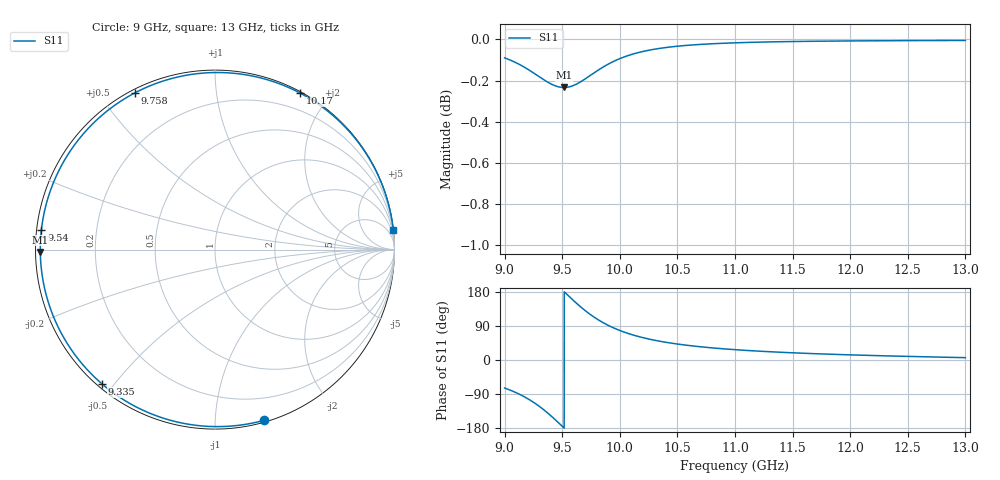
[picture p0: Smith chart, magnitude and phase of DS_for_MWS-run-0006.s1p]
! TOUCHSTONE file generated by CST DESIGN STUDIO
! Date and time: Tue Feb  4 17:21:26 2025
! Project name: C:\Work\MatlabApps\UnitCellOptimizationMatlab\CST\unitcell.cst
! Tree item: Tasks\Sweep1\SPara1\S-Parameters
! Header version: 2024
! Port assignment regex: !\s*Touchstone port\s*([0-9]+)\s*=\s*(CST MWS port|CST DES external port|CST DES block port)\s*(.+)\s* \(\"(.*)\"\)(\s*mode\s*([0-9]+))?.*
! Touchstone port assignment:
! Touchstone port 1 = CST DES external port 1 ("")
# GHz S MA R 50
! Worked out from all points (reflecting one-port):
!   4001 points, 9 GHz to 13 GHz, reference 50 ohm
!   lowest |S11| = -0.2 dB at 9.515 GHz (marker M1), VSWR 74.31, Z = 0.673 - j0.342 ohm
!   phase of S11 starts at -74 deg and turns -280 deg over the sweep
!   S11 on the Smith chart (normalised r, x): 9 GHz: 0.01, -1.33; 9.335 GHz: 0.01, -0.46; 9.54 GHz: 0.01, +0.06; 9.758 GHz: 0.01, +0.61; 10.17 GHz: 0.01, +1.68; 13 GHz: 0, +19
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9  0.9897 -73.9
9.091  0.9873 -85.0
9.195  0.9837 -101.1
9.268  0.9807 -115.1
9.335  0.9779 -130.1
9.38  0.9761 -141.4
9.426  0.9747 -153.8
9.464  0.9739 -164.5
9.5  0.9735 -174.9
9.515  0.9734 -179.2
9.54  0.9735 173.5
9.594  0.9744 158.0
9.655  0.9764 141.5
9.706  0.9784 128.8
9.758  0.9806 117.0
9.809  0.9828 106.8
9.864  0.985 97.0
10  0.9893 77.9
10.081  0.9912 69.2
10.169  0.9928 61.4
10.32  0.9947 51.1
10.5  0.9962 42.1
10.722  0.9973 34.2
11  0.9981 27.2
11.5  0.9988 19.0
12  0.9991 13.5
12.5  0.9993 9.5
13  0.9994 6.2
